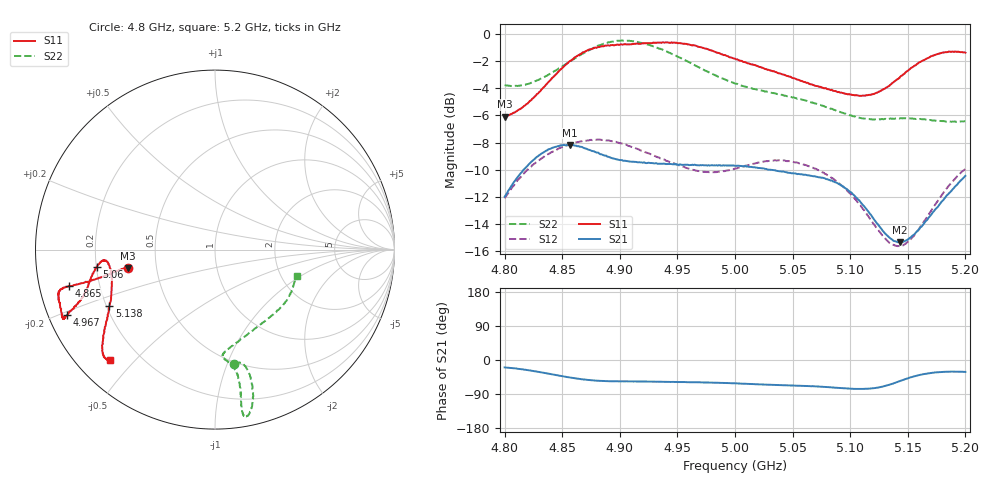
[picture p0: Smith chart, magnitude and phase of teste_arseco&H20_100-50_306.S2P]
! Network Analyzer HP8722D
! Hewlett-Packard
! Data name: Linha & Wilkinson
! Saver's name: Rodrigo Anjos
! Comments: Teste da utilização de aquisição
! continua pelo VNA HP8722D
! Time and date: 6/5/2025 15:07
!  Frequency  S11  S21  S12  S22
# HZ  S  MA R 50
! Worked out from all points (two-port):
!   401 points, 4.8 GHz to 5.2 GHz, reference 50 ohm
!   highest |S21| = -8.16 dB at 4.857 GHz (marker M1); lowest = -15.3 dB at 5.143 GHz (marker M2)
!   |S21| within 3 dB of the highest: 4.806 GHz to 5.093 GHz (286.5 MHz wide, 5.79 % of centre); 5.191893 GHz to end of sweep
!   lowest |S11| = -6.1 dB at 4.8 GHz (marker M3), VSWR 2.97, Z = 17 - j4.58 ohm
!   |S11| at or under -10 dB: nowhere
!   |S22| runs from -6.5 to -0.5 dB; largest |S21 - S12| = 0.62
!   S11 on the Smith chart (normalised r, x): 4.8 GHz: 0.34, -0.09; 4.865 GHz: 0.09, -0.12; 4.967 GHz: 0.05, -0.21; 5.06 GHz: 0.20, -0.07; 5.138 GHz: 0.21, -0.24; 5.2 GHz: 0.09, -0.43
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4.8e9  0.4967 -168.2  0.2518 -19.5  0.2484 -140.8  0.6479 -80.4
4.829e9  0.6038 -166.9  0.3548 -31.2  0.3414 -144.9  0.6766 -75.2
4.857e9  0.796 -165.9  0.3907 -46.4  0.3927 -150.2  0.7929 -74.7
4.865e9  0.8391 -166.0  0.3848 -49.9  0.4014 -151.6  0.8326 -75.2
4.867e9  0.849 -165.8  0.384 -50.9  0.4027 -152.0  0.8431 -75.3
4.883e9  0.8971 -165.0  0.3609 -55.1  0.4086 -154.7  0.9096 -77.2
4.9e9  0.9124 -162.6  0.3435 -56.2  0.3963 -156.5  0.9428 -79.1
4.934e9  0.9293 -156.4  0.3331 -57.4  0.3512 -155.5  0.8832 -80.5
4.967e9  0.9006 -156.1  0.3291 -58.7  0.3137 -148.0  0.7589 -79.5
5e9  0.811 -159.0  0.3273 -61.7  0.3197 -137.1  0.6571 -81.3
5.035e9  0.7241 -165.3  0.315 -65.8  0.3432 -134.4  0.6044 -85.6
5.06e9  0.6655 -171.6  0.3032 -68.2  0.3305 -136.1  0.5709 -84.3
5.067e9  0.651 -172.9  0.3004 -69.0  0.3225 -136.7  0.5592 -82.7
5.086e9  0.6165 -174.5  0.286 -72.9  0.2915 -138.4  0.5256 -75.2
5.102e9  0.5959 -171.6  0.2577 -75.9  0.2532 -138.6  0.4983 -66.1
5.116e9  0.5968 -165.4  0.2214 -75.9  0.2127 -135.5  0.4856 -55.7
5.134e9  0.6447 -154.1  0.1782 -65.3  0.1705 -120.8  0.4872 -43.3
5.138e9  0.6669 -151.8  0.1731 -61.1  0.1674 -115.6  0.4874 -40.9
5.143e9  0.6911 -149.2  0.1712 -55.8  0.1657 -109.0  0.4883 -38.1
5.154e9  0.7545 -144.4  0.1811 -44.4  0.1788 -95.0  0.4883 -32.4
5.174e9  0.8381 -138.5  0.2268 -32.8  0.2366 -80.4  0.4795 -23.8
5.2e9  0.8524 -133.6  0.3005 -31.4  0.3188 -77.0  0.4775 -17.6
